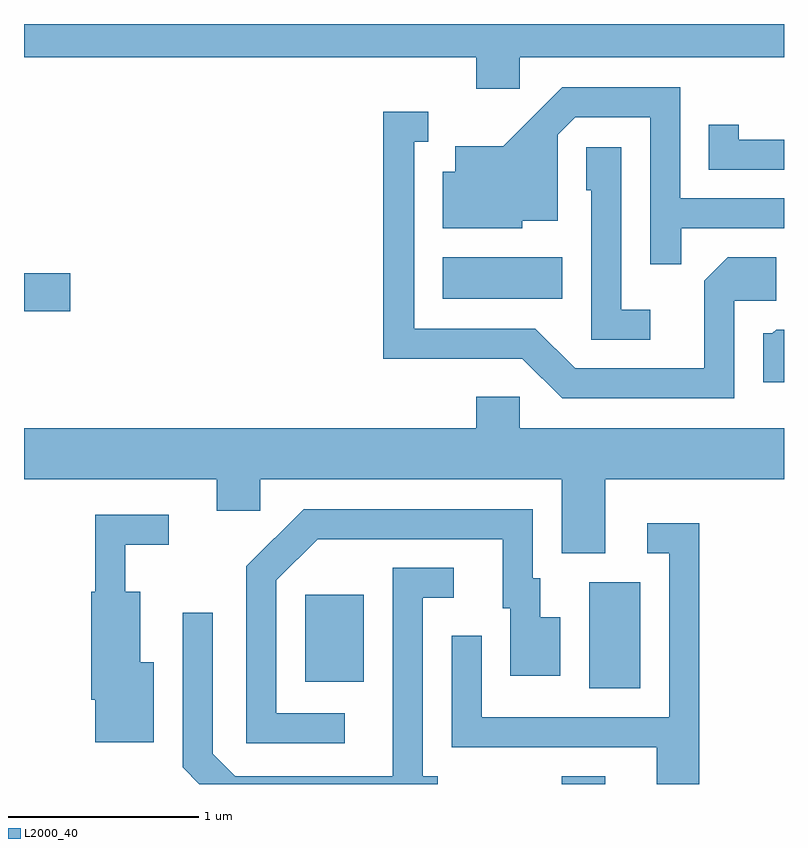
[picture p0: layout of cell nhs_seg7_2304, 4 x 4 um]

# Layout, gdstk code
import gdstk
lib = gdstk.Library(unit=1e-6, precision=1e-09)
def R(c, l, rs):  # rectangles x0, y0, x1, y1
    for r in rs: c.add(gdstk.rectangle(r[:2], r[2:], *l))
def P(c, l, *ps):  # polygons
    for p in ps: c.add(gdstk.Polygon(p, *l))
L2000_40 = (2000, 40)

nhs_seg7_2304 = lib.new_cell('nhs_seg7_2304')
R(nhs_seg7_2304, L2000_40, [(258.441,1728.252,258.669,1728.294), (258.586,1728.756,258.854,1729.314), (257.091,1728.791,257.399,1729.249), (255.611,1730.741,255.854,1730.939), (257.816,1730.806,258.444,1731.024)])
P(nhs_seg7_2304, L2000_40, [(258.219,1732.076),(259.611,1732.076),(259.611,1732.252),(255.611,1732.252),(255.611,1732.076),(257.991,1732.076),(257.991,1731.911),(258.219,1731.911)],
  [(259.069,1731.176),(259.611,1731.176),(259.611,1731.334),(259.064,1731.334),(259.064,1731.919),(258.444,1731.919),(258.134,1731.609),(257.881,1731.609),(257.881,1731.474),(257.816,1731.474),(257.816,1731.176),(258.234,1731.176),(258.234,1731.216),(258.419,1731.216),(258.419,1731.669),(258.512,1731.761),(258.906,1731.761),(258.906,1730.988),(259.069,1730.988)],
  [(259.349,1730.796),(259.569,1730.796),(259.569,1731.024),(259.314,1731.024),(259.191,1730.902),(259.191,1730.439),(258.512,1730.439),(258.302,1730.649),(257.664,1730.649),(257.664,1731.631),(257.738,1731.631),(257.738,1731.789),(257.501,1731.789),(257.501,1730.491),(258.234,1730.491),(258.444,1730.281),(259.349,1730.281)],
  [(259.611,1731.644),(259.374,1731.644),(259.374,1731.723),(259.216,1731.723),(259.216,1731.486),(259.611,1731.486)],
  [(258.908,1730.749),(258.754,1730.749),(258.754,1731.604),(258.571,1731.604),(258.571,1731.376),(258.596,1731.376),(258.596,1730.591),(258.908,1730.591)],
  [(259.611,1730.644),(259.569,1730.644),(259.549,1730.624),(259.501,1730.624),(259.501,1730.366),(259.611,1730.366)],
  [(258.669,1729.856),(259.611,1729.856),(259.611,1730.124),(258.219,1730.124),(258.219,1730.289),(257.991,1730.289),(257.991,1730.124),(255.611,1730.124),(255.611,1729.856),(256.626,1729.856),(256.626,1729.691),(256.854,1729.691),(256.854,1729.856),(258.441,1729.856),(258.441,1729.466),(258.669,1729.466)],
  [(257.298,1728.624),(256.939,1728.624),(256.939,1729.324),(257.157,1729.541),(258.131,1729.541),(258.131,1729.176),(258.171,1729.176),(258.171,1728.821),(258.434,1728.821),(258.434,1729.129),(258.329,1729.129),(258.329,1729.334),(258.289,1729.334),(258.289,1729.699),(257.084,1729.699),(256.781,1729.397),(256.781,1728.466),(257.298,1728.466)],
  [(256.294,1728.894),(256.224,1728.894),(256.224,1729.264),(256.144,1729.264),(256.144,1729.511),(256.373,1729.511),(256.373,1729.669),(255.986,1729.669),(255.986,1729.264),(255.966,1729.264),(255.966,1728.696),(255.986,1728.696),(255.986,1728.471),(256.294,1728.471)],
  [(259.164,1729.624),(258.892,1729.624),(258.892,1729.466),(259.006,1729.466),(259.006,1728.604),(258.019,1728.604),(258.019,1729.033),(257.861,1729.033),(257.861,1728.446),(258.941,1728.446),(258.941,1728.252),(259.164,1728.252)],
  [(257.788,1728.294),(257.709,1728.294),(257.709,1729.231),(257.873,1729.231),(257.873,1729.389),(257.551,1729.389),(257.551,1728.294),(256.722,1728.294),(256.604,1728.412),(256.604,1729.153),(256.446,1729.153),(256.446,1728.339),(256.533,1728.252),(257.788,1728.252)])

lib.write_gds('nhs_seg7_2304.gds')
